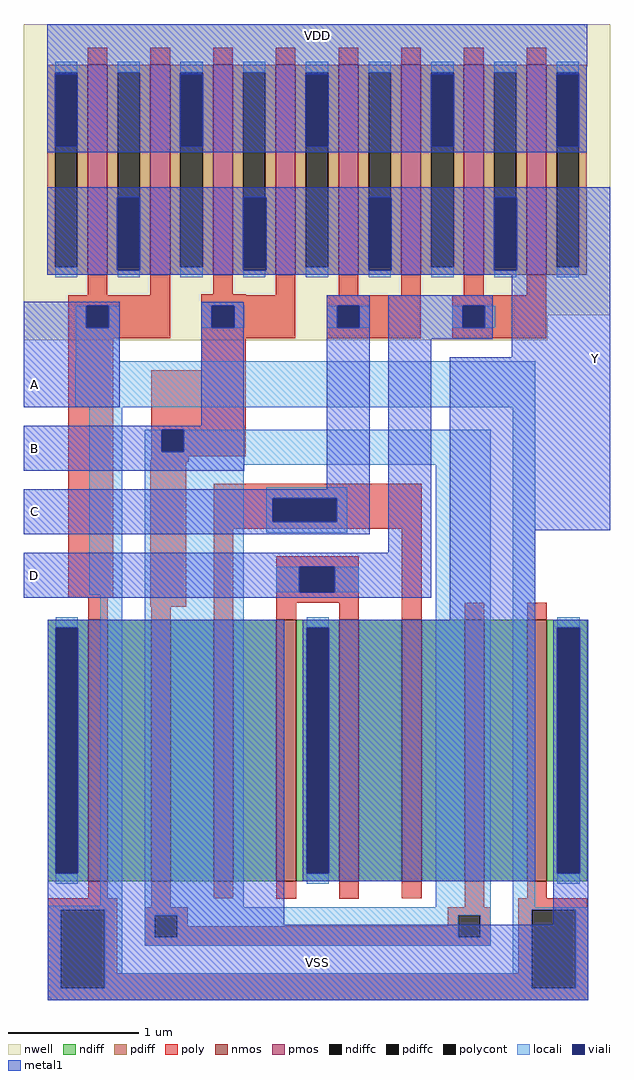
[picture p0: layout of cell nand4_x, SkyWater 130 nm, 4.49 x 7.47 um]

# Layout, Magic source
magic
tech sky130B
magscale 1 2
<< nwell >>
rect -37 954 861 1400
rect -37 916 765 954
<< nmos >>
rect 62 88 92 488
rect 158 88 188 488
rect 254 88 284 488
rect 350 88 380 488
rect 446 88 476 488
rect 542 88 572 488
rect 638 88 668 488
rect 734 88 764 488
<< pmos >>
rect 61 1016 91 1338
rect 157 1016 187 1338
rect 253 1016 283 1338
rect 349 1016 379 1338
rect 445 1016 475 1338
rect 541 1016 571 1338
rect 637 1016 667 1338
rect 733 1016 763 1338
<< ndiff >>
rect 0 476 62 488
rect 0 100 12 476
rect 46 100 62 476
rect 0 88 62 100
rect 92 88 158 488
rect 188 88 254 488
rect 284 88 350 488
rect 380 476 446 488
rect 380 100 396 476
rect 430 100 446 476
rect 380 88 446 100
rect 476 88 542 488
rect 572 88 638 488
rect 668 88 734 488
rect 764 476 826 488
rect 764 100 780 476
rect 814 100 826 476
rect 764 88 826 100
<< pdiff >>
rect -1 1326 61 1338
rect -1 1028 11 1326
rect 45 1028 61 1326
rect -1 1016 61 1028
rect 91 1326 157 1338
rect 91 1028 107 1326
rect 141 1028 157 1326
rect 91 1016 157 1028
rect 187 1326 253 1338
rect 187 1028 203 1326
rect 237 1028 253 1326
rect 187 1016 253 1028
rect 283 1326 349 1338
rect 283 1028 299 1326
rect 333 1028 349 1326
rect 283 1016 349 1028
rect 379 1326 445 1338
rect 379 1028 395 1326
rect 429 1028 445 1326
rect 379 1016 445 1028
rect 475 1326 541 1338
rect 475 1028 491 1326
rect 525 1028 541 1326
rect 475 1016 541 1028
rect 571 1326 637 1338
rect 571 1028 587 1326
rect 621 1028 637 1326
rect 571 1016 637 1028
rect 667 1326 733 1338
rect 667 1028 683 1326
rect 717 1028 733 1326
rect 667 1016 733 1028
rect 763 1326 825 1338
rect 763 1028 779 1326
rect 813 1028 825 1326
rect 763 1016 825 1028
<< ndiffc >>
rect 12 100 46 476
rect 396 100 430 476
rect 780 100 814 476
<< pdiffc >>
rect 11 1028 45 1326
rect 107 1028 141 1326
rect 203 1028 237 1326
rect 299 1028 333 1326
rect 395 1028 429 1326
rect 491 1028 525 1326
rect 587 1028 621 1326
rect 683 1028 717 1326
rect 779 1028 813 1326
<< poly >>
rect 61 1338 91 1364
rect 157 1338 187 1364
rect 253 1338 283 1364
rect 349 1338 379 1364
rect 445 1338 475 1364
rect 541 1338 571 1364
rect 637 1338 667 1364
rect 733 1338 763 1364
rect 61 985 91 1016
rect 157 985 187 1016
rect 253 986 283 1016
rect 31 969 187 985
rect 31 935 59 969
rect 93 935 187 969
rect 31 919 187 935
rect 235 985 303 986
rect 349 985 379 1016
rect 445 985 475 1016
rect 541 985 571 1016
rect 637 985 667 1016
rect 733 985 763 1016
rect 235 969 379 985
rect 235 935 251 969
rect 285 935 379 969
rect 235 919 379 935
rect 427 969 571 985
rect 427 935 443 969
rect 477 935 571 969
rect 427 919 571 935
rect 619 969 763 985
rect 619 935 635 969
rect 669 935 763 969
rect 619 919 763 935
rect 31 522 100 919
rect 235 870 303 919
rect 158 779 303 870
rect 158 745 174 779
rect 208 745 303 779
rect 158 738 303 745
rect 158 732 216 738
rect 157 730 216 732
rect 62 488 92 522
rect 157 508 212 730
rect 254 674 572 696
rect 254 638 344 674
rect 442 638 572 674
rect 254 627 572 638
rect 158 488 188 508
rect 254 488 284 627
rect 350 569 476 585
rect 350 530 385 569
rect 439 530 476 569
rect 350 514 476 530
rect 350 488 380 514
rect 446 488 476 514
rect 542 488 572 627
rect 638 488 668 514
rect 734 488 764 514
rect 62 62 92 88
rect 0 44 106 62
rect 158 48 188 88
rect 254 62 284 88
rect 350 61 380 88
rect 446 61 476 88
rect 542 62 572 88
rect 638 48 668 88
rect 734 62 764 88
rect 720 48 826 62
rect 0 -76 20 44
rect 87 -53 106 44
rect 148 36 214 48
rect 148 2 164 36
rect 198 19 214 36
rect 612 36 678 48
rect 612 19 628 36
rect 198 2 628 19
rect 662 2 678 36
rect 148 -11 678 2
rect 720 44 827 48
rect 720 -53 741 44
rect 87 -76 741 -53
rect 808 -76 827 44
rect 0 -94 827 -76
<< polycont >>
rect 59 935 93 969
rect 251 935 285 969
rect 443 935 477 969
rect 635 935 669 969
rect 174 745 208 779
rect 344 638 442 674
rect 385 530 439 569
rect 20 -76 87 44
rect 164 2 198 36
rect 628 2 662 36
rect 741 -76 808 44
<< locali >>
rect 11 1326 45 1342
rect 107 1326 141 1342
rect 11 1012 45 1028
rect 107 1012 141 1023
rect 203 1326 237 1342
rect 203 1012 237 1028
rect 299 1326 333 1342
rect 395 1326 429 1342
rect 299 1012 333 1023
rect 395 1012 429 1028
rect 491 1326 525 1342
rect 587 1326 621 1342
rect 491 1012 525 1023
rect 587 1012 621 1028
rect 683 1326 717 1342
rect 779 1326 813 1342
rect 683 1012 717 1023
rect 779 1012 813 1028
rect 235 969 300 974
rect 43 935 59 969
rect 93 935 110 969
rect 235 935 251 969
rect 285 935 301 969
rect 427 935 443 969
rect 477 935 493 969
rect 619 935 635 969
rect 669 935 685 969
rect 43 884 110 935
rect 42 813 746 884
rect 63 526 114 813
rect 12 476 46 492
rect 12 84 46 100
rect 80 50 114 526
rect 0 44 114 50
rect 0 -76 20 44
rect 87 -53 114 44
rect 148 745 174 779
rect 208 745 678 779
rect 148 725 678 745
rect 148 48 300 725
rect 334 674 458 691
rect 334 638 344 674
rect 442 638 458 674
rect 334 621 458 638
rect 350 530 385 569
rect 439 530 476 569
rect 396 476 430 492
rect 396 84 430 100
rect 594 48 678 725
rect 148 36 678 48
rect 148 2 164 36
rect 198 2 628 36
rect 662 2 678 36
rect 148 -11 678 2
rect 712 48 746 813
rect 780 476 814 492
rect 780 84 814 100
rect 712 44 827 48
rect 712 -53 741 44
rect 87 -76 741 -53
rect 808 -76 827 44
rect 0 -94 827 -76
<< viali >>
rect 11 1213 45 1323
rect 106 1028 107 1135
rect 107 1028 141 1135
rect 106 1023 141 1028
rect 203 1213 237 1323
rect 395 1213 429 1323
rect 299 1028 333 1135
rect 333 1028 334 1135
rect 299 1023 334 1028
rect 587 1213 621 1323
rect 491 1028 525 1135
rect 525 1028 526 1135
rect 491 1023 526 1028
rect 779 1213 813 1323
rect 683 1028 717 1135
rect 717 1028 718 1135
rect 683 1023 718 1028
rect 59 935 93 969
rect 251 935 285 969
rect 443 935 477 969
rect 635 935 669 969
rect 12 100 46 476
rect 174 745 208 779
rect 344 638 442 674
rect 385 530 439 569
rect 396 100 430 476
rect 780 100 814 476
<< metal1 >>
rect -1 1335 826 1400
rect -1 1323 825 1335
rect -1 1213 11 1323
rect 45 1213 203 1323
rect 237 1213 395 1323
rect 429 1213 587 1323
rect 621 1213 779 1323
rect 813 1213 825 1323
rect -1 1204 825 1213
rect -1 1135 861 1150
rect -1 1023 106 1135
rect 141 1023 299 1135
rect 334 1023 491 1135
rect 526 1023 683 1135
rect 718 1023 861 1135
rect -1 1016 861 1023
rect -37 969 110 975
rect -37 935 59 969
rect 93 935 110 969
rect -37 813 110 935
rect 235 974 298 975
rect 235 969 300 974
rect 235 935 251 969
rect 285 935 300 969
rect 235 785 300 935
rect 427 969 493 985
rect 427 935 443 969
rect 477 935 493 969
rect -37 779 301 785
rect -37 745 174 779
rect 208 745 301 779
rect -37 716 301 745
rect 427 688 493 935
rect -37 674 493 688
rect -37 638 344 674
rect 442 638 493 674
rect -37 619 493 638
rect 521 969 681 985
rect 521 935 635 969
rect 669 935 681 969
rect 521 918 681 935
rect 521 591 587 918
rect 710 890 861 1016
rect -37 569 587 591
rect -37 530 385 569
rect 439 530 587 569
rect -37 522 587 530
rect 615 625 861 890
rect 615 488 746 625
rect 0 476 362 488
rect 0 100 12 476
rect 46 100 362 476
rect 0 21 362 100
rect 390 476 746 488
rect 390 100 396 476
rect 430 100 746 476
rect 390 88 746 100
rect 774 476 827 488
rect 774 100 780 476
rect 814 100 827 476
rect 774 21 827 100
rect 0 -94 827 21
<< labels >>
rlabel metal1 -37 813 -4 882 7 A
port 1 w
rlabel metal1 -37 716 -5 785 7 B
port 2 w
rlabel metal1 -37 619 -4 688 7 C
port 3 w
rlabel metal1 -37 522 -5 591 7 D
port 4 w
rlabel metal1 0 -94 827 21 5 VSS
port 5 s
rlabel metal1 -1 1366 826 1400 5 VDD
port 6 n
rlabel metal1 815 625 861 1150 5 Y
port 7 e
<< end >>
